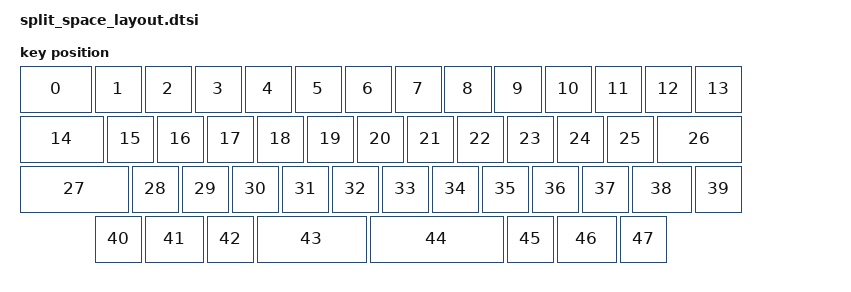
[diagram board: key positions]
#include <physical_layouts.dtsi>

#include "position_map.dtsi"

/ {
    kasasagi_split_space_layout: kasasagi_split_space_layout {
        compatible = "zmk,physical-layout";
        display-name = "Split Space (1u+2.25u+2.75u+1u)";

        keys  //                     w   h    x    y     rot    rx    ry
            = <&key_physical_attrs 150 100    0    0       0     0     0>
            , <&key_physical_attrs 100 100  150    0       0     0     0>
            , <&key_physical_attrs 100 100  250    0       0     0     0>
            , <&key_physical_attrs 100 100  350    0       0     0     0>
            , <&key_physical_attrs 100 100  450    0       0     0     0>
            , <&key_physical_attrs 100 100  550    0       0     0     0>
            , <&key_physical_attrs 100 100  650    0       0     0     0>
            , <&key_physical_attrs 100 100  750    0       0     0     0>
            , <&key_physical_attrs 100 100  850    0       0     0     0>
            , <&key_physical_attrs 100 100  950    0       0     0     0>
            , <&key_physical_attrs 100 100 1050    0       0     0     0>
            , <&key_physical_attrs 100 100 1150    0       0     0     0>
            , <&key_physical_attrs 100 100 1250    0       0     0     0>
            , <&key_physical_attrs 100 100 1350    0       0     0     0>
            , <&key_physical_attrs 175 100    0  100       0     0     0>
            , <&key_physical_attrs 100 100  175  100       0     0     0>
            , <&key_physical_attrs 100 100  275  100       0     0     0>
            , <&key_physical_attrs 100 100  375  100       0     0     0>
            , <&key_physical_attrs 100 100  475  100       0     0     0>
            , <&key_physical_attrs 100 100  575  100       0     0     0>
            , <&key_physical_attrs 100 100  675  100       0     0     0>
            , <&key_physical_attrs 100 100  775  100       0     0     0>
            , <&key_physical_attrs 100 100  875  100       0     0     0>
            , <&key_physical_attrs 100 100  975  100       0     0     0>
            , <&key_physical_attrs 100 100 1075  100       0     0     0>
            , <&key_physical_attrs 100 100 1175  100       0     0     0>
            , <&key_physical_attrs 175 100 1275  100       0     0     0>
            , <&key_physical_attrs 225 100    0  200       0     0     0>
            , <&key_physical_attrs 100 100  225  200       0     0     0>
            , <&key_physical_attrs 100 100  325  200       0     0     0>
            , <&key_physical_attrs 100 100  425  200       0     0     0>
            , <&key_physical_attrs 100 100  525  200       0     0     0>
            , <&key_physical_attrs 100 100  625  200       0     0     0>
            , <&key_physical_attrs 100 100  725  200       0     0     0>
            , <&key_physical_attrs 100 100  825  200       0     0     0>
            , <&key_physical_attrs 100 100  925  200       0     0     0>
            , <&key_physical_attrs 100 100 1025  200       0     0     0>
            , <&key_physical_attrs 100 100 1125  200       0     0     0>
            , <&key_physical_attrs 125 100 1225  200       0     0     0>
            , <&key_physical_attrs 100 100 1350  200       0     0     0>
            , <&key_physical_attrs 100 100  150  300       0     0     0>
            , <&key_physical_attrs 125 100  250  300       0     0     0>
            , <&key_physical_attrs 100 100  375  300       0     0     0>
            , <&key_physical_attrs 225 100  475  300       0     0     0>
            , <&key_physical_attrs 275 100  700  300       0     0     0>
            , <&key_physical_attrs 100 100  975  300       0     0     0>
            , <&key_physical_attrs 125 100 1075  300       0     0     0>
            , <&key_physical_attrs 100 100 1200  300       0     0     0>
            ;
    };
};

&layouts_kasasagi_position_map{
        split_space {
                physical-layout = <&kasasagi_split_space_layout>;

                positions
                = < 0  1  2  3  4  5  6  7  8  9 10 11 12 13>
                , <14 15 16 17 18 19 20 21 22 23 24 25 26>
                , <27 28 29 30 31 32 33 34 35 36 37 38 39>
                , <   40 41 42    43    44    45 46 47   >;
        };
};
